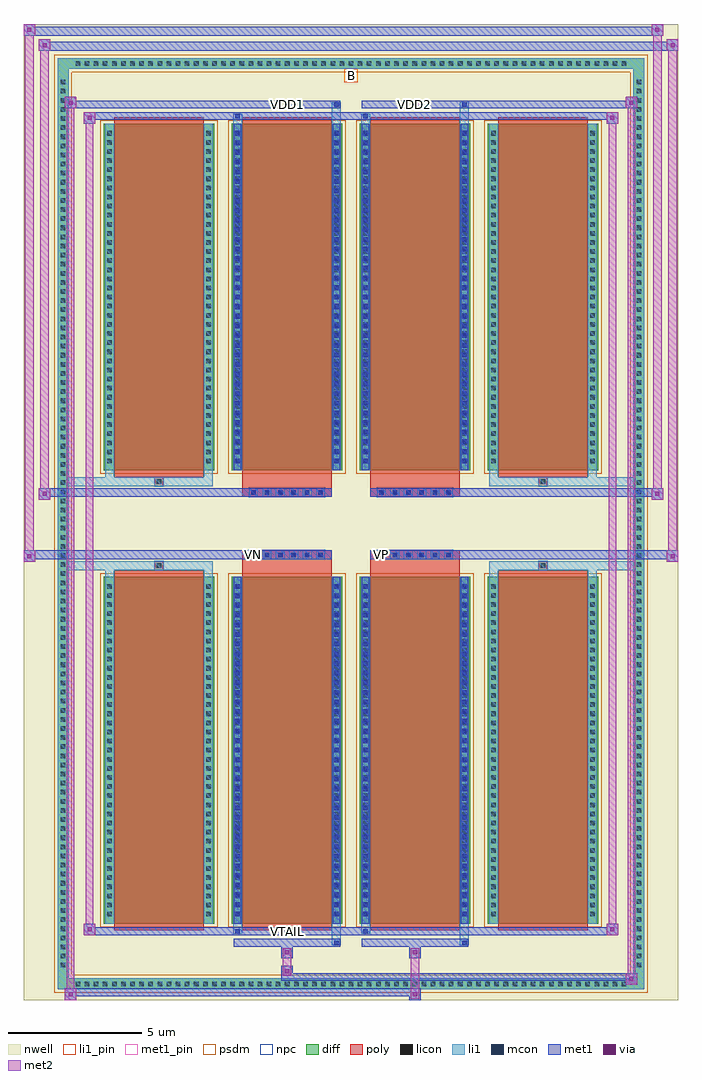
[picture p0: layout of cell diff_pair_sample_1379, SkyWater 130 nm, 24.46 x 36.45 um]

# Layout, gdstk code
import gdstk
lib = gdstk.Library(unit=1e-6, precision=5e-09)
def R(c, l, rs):  # rectangles x0, y0, x1, y1
    for r in rs: c.add(gdstk.rectangle(r[:2], r[2:], *l))
def A(c, l, x, y, w, h, nx, ny, dx, dy):  # array of equal rectangles
    R(c, l, [(x+i*dx, y+j*dy, x+i*dx+w, y+j*dy+h) for i in range(nx) for j in range(ny)])
def P(c, l, *ps):  # polygons
    for p in ps: c.add(gdstk.Polygon(p, *l))
nwell = (64, 20)
diff = (65, 20)
poly = (66, 20)
licon = (66, 44)
li1_pin = (67, 16)
li1 = (67, 20)
mcon = (67, 44)
met1_pin = (68, 16)
met1 = (68, 20)
via = (68, 44)
met2 = (69, 20)
psdm = (94, 20)
npc = (95, 20)

diff_pair_sample_1379 = lib.new_cell('diff_pair_sample_1379')
R(diff_pair_sample_1379, nwell, [(-12.23,-17.79,12.23,18.66), (-9.55,-15.98,-0.01,-0.8), (0.01,-15.98,9.55,-0.8), (-9.55,0.8,-0.01,15.98), (0.01,0.8,9.55,15.98)])
A(diff_pair_sample_1379, diff, -10.405, -17.39, 0.41, 0.41, 61, 2, 0.34, 34.37)
A(diff_pair_sample_1379, diff, -10.96, -16.695, 0.41, 0.41, 1, 98, 0, 0.34)
A(diff_pair_sample_1379, diff, 10.55, -16.695, 0.41, 0.41, 1, 98, 0, 0.34)
A(diff_pair_sample_1379, diff, -9.24, -14.935, 4.14, 12.95, 4, 2, 4.78, 16.92)
R(diff_pair_sample_1379, diff, [(-10.405,-17.39,10.405,-16.98), (-10.96,-16.695,-10.55,16.695), (10.55,-16.695,10.96,16.695), (-10.405,16.98,10.405,17.39)])
P(diff_pair_sample_1379, diff, [(10.96,17.39),(-10.96,17.39),(-10.96,-16.98),(-10.55,-16.98),(-10.55,16.98),(10.55,16.98),(10.55,-16.98),(-10.55,-16.98),(-10.96,-16.98),(-10.96,-17.39),(10.96,-17.39)])
A(diff_pair_sample_1379, poly, -8.85, -15.185, 3.36, 13.45, 4, 2, 4.78, 16.92)
A(diff_pair_sample_1379, poly, -3.805, -1.33, 0.33, 0.33, 6, 2, 0.5, 2.33)
A(diff_pair_sample_1379, poly, 0.975, -1.33, 0.33, 0.33, 6, 2, 0.5, 2.33)
R(diff_pair_sample_1379, poly, [(-7.335,-1.735,-7.005,-1.405), (-7.335,-1.735,-7.005,-1.405), (-4.07,-1.735,-0.71,-1.33), (0.71,-1.735,4.07,-1.33), (7.005,-1.735,7.335,-1.405), (7.005,-1.735,7.335,-1.405), (-4.07,-1.33,-0.71,-1), (0.71,-1.33,4.07,-1), (-4.07,1,-0.71,1.33), (0.71,1,4.07,1.33), (-4.07,1.33,-0.71,1.735), (0.71,1.33,4.07,1.735), (-7.335,1.405,-7.005,1.735), (-7.335,1.405,-7.005,1.735), (7.005,1.405,7.335,1.735), (7.005,1.405,7.335,1.735)])
A(diff_pair_sample_1379, licon, -10.285, -17.27, 0.17, 0.17, 61, 2, 0.34, 34.37)
A(diff_pair_sample_1379, licon, -10.84, -16.575, 0.17, 0.17, 1, 98, 0, 0.34)
A(diff_pair_sample_1379, licon, 10.67, -16.575, 0.17, 0.17, 1, 98, 0, 0.34)
A(diff_pair_sample_1379, licon, -9.1, -14.665, 0.17, 0.17, 1, 37, 0, 0.34)
A(diff_pair_sample_1379, licon, -5.41, -14.665, 0.17, 0.17, 1, 37, 0, 0.34)
A(diff_pair_sample_1379, licon, -4.32, -14.665, 0.17, 0.17, 1, 37, 0, 0.34)
A(diff_pair_sample_1379, licon, -0.63, -14.665, 0.17, 0.17, 1, 37, 0, 0.34)
A(diff_pair_sample_1379, licon, 0.46, -14.665, 0.17, 0.17, 1, 37, 0, 0.34)
A(diff_pair_sample_1379, licon, 4.15, -14.665, 0.17, 0.17, 1, 37, 0, 0.34)
A(diff_pair_sample_1379, licon, 5.24, -14.665, 0.17, 0.17, 1, 37, 0, 0.34)
A(diff_pair_sample_1379, licon, 8.93, -14.665, 0.17, 0.17, 1, 37, 0, 0.34)
A(diff_pair_sample_1379, licon, -3.725, -1.25, 0.17, 0.17, 6, 2, 0.5, 2.33)
A(diff_pair_sample_1379, licon, 1.055, -1.25, 0.17, 0.17, 6, 2, 0.5, 2.33)
A(diff_pair_sample_1379, licon, -9.1, 2.255, 0.17, 0.17, 1, 37, 0, 0.34)
A(diff_pair_sample_1379, licon, -5.41, 2.255, 0.17, 0.17, 1, 37, 0, 0.34)
A(diff_pair_sample_1379, licon, -4.32, 2.255, 0.17, 0.17, 1, 37, 0, 0.34)
A(diff_pair_sample_1379, licon, -0.63, 2.255, 0.17, 0.17, 1, 37, 0, 0.34)
A(diff_pair_sample_1379, licon, 0.46, 2.255, 0.17, 0.17, 1, 37, 0, 0.34)
A(diff_pair_sample_1379, licon, 4.15, 2.255, 0.17, 0.17, 1, 37, 0, 0.34)
A(diff_pair_sample_1379, licon, 5.24, 2.255, 0.17, 0.17, 1, 37, 0, 0.34)
A(diff_pair_sample_1379, licon, 8.93, 2.255, 0.17, 0.17, 1, 37, 0, 0.34)
R(diff_pair_sample_1379, licon, [(-7.255,-1.655,-7.085,-1.485), (7.085,-1.655,7.255,-1.485), (-7.255,1.485,-7.085,1.655), (7.085,1.485,7.255,1.655)])
R(diff_pair_sample_1379, li1_pin, [(-0.25,16.48,0.25,16.98)])
A(diff_pair_sample_1379, li1, -10.365, -17.35, 0.33, 0.33, 61, 2, 0.34, 34.37)
A(diff_pair_sample_1379, li1, -10.92, -16.655, 0.33, 0.33, 1, 98, 0, 0.34)
A(diff_pair_sample_1379, li1, 10.59, -16.655, 0.33, 0.33, 1, 98, 0, 0.34)
A(diff_pair_sample_1379, li1, -9.18, -14.745, 0.33, 0.33, 1, 37, 0, 0.34)
A(diff_pair_sample_1379, li1, -5.49, -14.745, 0.33, 0.33, 1, 37, 0, 0.34)
A(diff_pair_sample_1379, li1, -4.4, -14.745, 0.33, 0.33, 1, 37, 0, 0.34)
A(diff_pair_sample_1379, li1, -0.71, -14.745, 0.33, 0.33, 1, 37, 0, 0.34)
A(diff_pair_sample_1379, li1, 0.38, -14.745, 0.33, 0.33, 1, 37, 0, 0.34)
A(diff_pair_sample_1379, li1, 4.07, -14.745, 0.33, 0.33, 1, 37, 0, 0.34)
A(diff_pair_sample_1379, li1, 5.16, -14.745, 0.33, 0.33, 1, 37, 0, 0.34)
A(diff_pair_sample_1379, li1, 8.85, -14.745, 0.33, 0.33, 1, 37, 0, 0.34)
A(diff_pair_sample_1379, li1, -4.32, -14.665, 0.17, 0.17, 1, 35, 0, 0.36)
A(diff_pair_sample_1379, li1, -0.63, -14.665, 0.17, 0.17, 1, 35, 0, 0.36)
A(diff_pair_sample_1379, li1, 0.46, -14.665, 0.17, 0.17, 1, 35, 0, 0.36)
A(diff_pair_sample_1379, li1, 4.15, -14.665, 0.17, 0.17, 1, 35, 0, 0.36)
A(diff_pair_sample_1379, li1, -3.805, -1.33, 0.33, 0.33, 6, 2, 0.5, 2.33)
A(diff_pair_sample_1379, li1, 0.975, -1.33, 0.33, 0.33, 6, 2, 0.5, 2.33)
A(diff_pair_sample_1379, li1, -9.18, 2.175, 0.33, 0.33, 1, 37, 0, 0.34)
A(diff_pair_sample_1379, li1, -5.49, 2.175, 0.33, 0.33, 1, 37, 0, 0.34)
A(diff_pair_sample_1379, li1, -4.4, 2.175, 0.33, 0.33, 1, 37, 0, 0.34)
A(diff_pair_sample_1379, li1, -0.71, 2.175, 0.33, 0.33, 1, 37, 0, 0.34)
A(diff_pair_sample_1379, li1, 0.38, 2.175, 0.33, 0.33, 1, 37, 0, 0.34)
A(diff_pair_sample_1379, li1, 4.07, 2.175, 0.33, 0.33, 1, 37, 0, 0.34)
A(diff_pair_sample_1379, li1, 5.16, 2.175, 0.33, 0.33, 1, 37, 0, 0.34)
A(diff_pair_sample_1379, li1, 8.85, 2.175, 0.33, 0.33, 1, 37, 0, 0.34)
A(diff_pair_sample_1379, li1, -4.32, 2.255, 0.17, 0.17, 1, 35, 0, 0.36)
A(diff_pair_sample_1379, li1, -0.63, 2.255, 0.17, 0.17, 1, 35, 0, 0.36)
A(diff_pair_sample_1379, li1, 0.46, 2.255, 0.17, 0.17, 1, 35, 0, 0.36)
A(diff_pair_sample_1379, li1, 4.15, 2.255, 0.17, 0.17, 1, 35, 0, 0.36)
R(diff_pair_sample_1379, li1, [(-10.96,-17.39,-10.55,-16.98), (-10.96,-17.39,-10.55,-16.98), (-10.55,-17.39,10.55,-16.98), (10.55,-17.39,10.96,-16.98), (10.55,-17.39,10.96,-16.98), (-10.96,-16.98,-10.55,16.98), (10.55,-16.98,10.96,16.98), (-0.71,-15.74,-0.38,-14.935), (-0.63,-15.74,-0.46,-15.57), (4.07,-15.74,4.4,-14.935), (4.15,-15.74,4.32,-15.57), (-4.4,-15.31,-4.07,-14.935), (-4.32,-15.31,-4.15,-15.14), (0.38,-15.31,0.71,-14.935), (0.46,-15.31,0.63,-15.14), (-9.18,-14.935,-8.85,-1.985), (-5.49,-14.935,-5.16,-1.985), (-4.4,-14.935,-4.07,-1.985), (-0.71,-14.935,-0.38,-1.985), (0.38,-14.935,0.71,-1.985), (4.07,-14.935,4.4,-1.985), (5.16,-14.935,5.49,-1.985), (8.85,-14.935,9.18,-1.985), (-4.32,-14.665,-4.15,-2.255), (-0.63,-14.665,-0.46,-2.255), (0.46,-14.665,0.63,-2.255), (4.15,-14.665,4.32,-2.255), (-9.18,-1.985,-8.85,-1.405), (-5.49,-1.985,-5.16,-1.405), (5.16,-1.985,5.49,-1.405), (8.85,-1.985,9.18,-1.405), (-10.96,-1.735,-7.335,-1.405), (-9.18,-1.735,-7.335,-1.405), (-7.335,-1.735,-7.005,-1.405), (-7.005,-1.735,-5.16,-1.405), (5.16,-1.735,7.005,-1.405), (7.005,-1.735,7.335,-1.405), (7.005,-1.735,10.96,-1.405), (7.335,-1.735,9.18,-1.405), (-10.96,1.405,-7.335,1.735), (-9.18,1.405,-7.335,1.735), (-9.18,1.405,-8.85,1.985), (-7.335,1.405,-7.005,1.735), (-7.005,1.405,-5.16,1.735), (-5.49,1.405,-5.16,1.985), (5.16,1.405,7.005,1.735), (5.16,1.405,5.49,1.985), (7.005,1.405,7.335,1.735), (7.005,1.405,10.96,1.735), (7.335,1.405,9.18,1.735), (8.85,1.405,9.18,1.985), (-9.18,1.985,-8.85,14.935), (-5.49,1.985,-5.16,14.935), (-4.4,1.985,-4.07,14.935), (-0.71,1.985,-0.38,14.935), (0.38,1.985,0.71,14.935), (4.07,1.985,4.4,14.935), (5.16,1.985,5.49,14.935), (8.85,1.985,9.18,14.935), (-4.32,2.255,-4.15,14.665), (-0.63,2.255,-0.46,14.665), (0.46,2.255,0.63,14.665), (4.15,2.255,4.32,14.665), (-4.4,14.935,-4.07,15.31), (-0.71,14.935,-0.38,15.74), (0.38,14.935,0.71,15.31), (4.07,14.935,4.4,15.74), (-4.32,15.14,-4.15,15.31), (0.46,15.14,0.63,15.31), (-0.63,15.57,-0.46,15.74), (4.15,15.57,4.32,15.74), (-10.96,16.98,-10.55,17.39), (-10.96,16.98,-10.55,17.39), (-10.55,16.98,10.55,17.39), (10.55,16.98,10.96,17.39), (10.55,16.98,10.96,17.39)])
A(diff_pair_sample_1379, mcon, -4.32, -14.665, 0.17, 0.17, 1, 35, 0, 0.36)
A(diff_pair_sample_1379, mcon, -0.63, -14.665, 0.17, 0.17, 1, 35, 0, 0.36)
A(diff_pair_sample_1379, mcon, 0.46, -14.665, 0.17, 0.17, 1, 35, 0, 0.36)
A(diff_pair_sample_1379, mcon, 4.15, -14.665, 0.17, 0.17, 1, 35, 0, 0.36)
A(diff_pair_sample_1379, mcon, -3.725, -1.25, 0.17, 0.17, 6, 2, 0.5, 2.33)
A(diff_pair_sample_1379, mcon, 1.055, -1.25, 0.17, 0.17, 6, 2, 0.5, 2.33)
A(diff_pair_sample_1379, mcon, -4.32, 2.255, 0.17, 0.17, 1, 35, 0, 0.36)
A(diff_pair_sample_1379, mcon, -0.63, 2.255, 0.17, 0.17, 1, 35, 0, 0.36)
A(diff_pair_sample_1379, mcon, 0.46, 2.255, 0.17, 0.17, 1, 35, 0, 0.36)
A(diff_pair_sample_1379, mcon, 4.15, 2.255, 0.17, 0.17, 1, 35, 0, 0.36)
R(diff_pair_sample_1379, mcon, [(-0.63,-15.74,-0.46,-15.57), (4.15,-15.74,4.32,-15.57), (-4.32,-15.31,-4.15,-15.14), (0.46,-15.31,0.63,-15.14), (-4.32,15.14,-4.15,15.31), (0.46,15.14,0.63,15.31), (-0.63,15.57,-0.46,15.74), (4.15,15.57,4.32,15.74)])
R(diff_pair_sample_1379, met1_pin, [(-2.525,-15.35,-2.255,-15.08), (-3.775,-1.29,-3.505,-1.02), (1.005,-1.29,1.275,-1.02), (-2.525,15.53,-2.255,15.8), (2.255,15.53,2.525,15.8)])
A(diff_pair_sample_1379, met1, -4.38, -14.725, 0.29, 0.29, 1, 35, 0, 0.36)
A(diff_pair_sample_1379, met1, -0.69, -14.725, 0.29, 0.29, 1, 35, 0, 0.36)
A(diff_pair_sample_1379, met1, 0.4, -14.725, 0.29, 0.29, 1, 35, 0, 0.36)
A(diff_pair_sample_1379, met1, 4.09, -14.725, 0.29, 0.29, 1, 35, 0, 0.36)
A(diff_pair_sample_1379, met1, -3.785, -1.31, 0.29, 0.29, 6, 2, 0.5, 2.33)
A(diff_pair_sample_1379, met1, 0.995, -1.31, 0.29, 0.29, 6, 2, 0.5, 2.33)
A(diff_pair_sample_1379, met1, -4.38, 2.195, 0.29, 0.29, 1, 35, 0, 0.36)
A(diff_pair_sample_1379, met1, -0.69, 2.195, 0.29, 0.29, 1, 35, 0, 0.36)
A(diff_pair_sample_1379, met1, 0.4, 2.195, 0.29, 0.29, 1, 35, 0, 0.36)
A(diff_pair_sample_1379, met1, 4.09, 2.195, 0.29, 0.29, 1, 35, 0, 0.36)
R(diff_pair_sample_1379, met1, [(-10.69,-17.79,-10.26,-17.36), (2.175,-17.79,2.605,-17.36), (-10.69,-17.65,2.605,-17.36), (10.26,-17.22,10.69,-16.79), (-2.605,-17.08,10.69,-16.79), (-2.605,-16.94,-2.175,-16.51), (-2.605,-16.23,-2.175,-15.8), (2.175,-16.23,2.605,-15.8), (-4.38,-15.8,-0.4,-15.51), (-0.69,-15.8,-0.4,-15.51), (0.4,-15.8,4.38,-15.51), (4.09,-15.8,4.38,-15.51), (-9.98,-15.37,-9.55,-14.94), (-9.98,-15.37,-4.38,-15.08), (-4.38,-15.37,-4.09,-15.08), (-4.38,-15.37,-0.4,-15.08), (-0.4,-15.37,0.4,-15.08), (0.4,-15.37,0.69,-15.08), (0.4,-15.37,4.38,-15.08), (4.38,-15.37,9.98,-15.08), (9.55,-15.37,9.98,-14.94), (-4.38,-14.935,-4.09,-1.985), (-0.69,-14.935,-0.4,-1.985), (0.4,-14.935,0.69,-1.985), (4.09,-14.935,4.38,-1.985), (-12.23,-1.43,-11.8,-1), (11.8,-1.43,12.23,-1), (-12.23,-1.33,-0.71,-1), (-4.07,-1.33,-0.71,-1), (0.71,-1.33,4.07,-1), (0.71,-1.33,12.23,-1), (-11.66,0.9,-11.23,1.33), (11.23,0.9,11.66,1.33), (-11.66,1,-4.07,1.33), (-4.07,1,-0.71,1.33), (0.71,1,4.07,1.33), (4.07,1,11.66,1.33), (-4.38,1.985,-4.09,14.935), (-0.69,1.985,-0.4,14.935), (0.4,1.985,0.69,14.935), (4.09,1.985,4.38,14.935), (-9.98,14.94,-9.55,15.37), (9.55,14.94,9.98,15.37), (-9.98,15.08,-4.38,15.37), (-4.38,15.08,-4.09,15.37), (-4.38,15.08,-0.4,15.37), (-0.4,15.08,0.4,15.37), (0.4,15.08,0.69,15.37), (0.4,15.08,4.38,15.37), (4.38,15.08,9.98,15.37), (-10.69,15.51,-10.26,15.94), (-10.69,15.51,-4.38,15.8), (-4.38,15.51,-0.4,15.8), (-0.69,15.51,-0.4,15.8), (0.4,15.51,4.38,15.8), (4.09,15.51,4.38,15.8), (4.38,15.51,10.69,15.8), (10.26,15.51,10.69,15.94), (-11.66,17.66,-11.23,18.09), (-11.66,17.66,-9.55,17.99), (-9.55,17.66,9.55,17.99), (9.55,17.66,12.23,17.99), (11.8,17.66,12.23,18.09), (-12.23,18.23,-11.8,18.66), (-12.23,18.23,-9.55,18.56), (-9.55,18.23,9.55,18.56), (9.55,18.23,11.66,18.56), (11.23,18.23,11.66,18.66)])
R(diff_pair_sample_1379, via, [(-10.55,-17.65,-10.4,-17.5), (2.315,-17.65,2.465,-17.5), (10.4,-17.08,10.55,-16.93), (-2.465,-16.8,-2.315,-16.65), (-2.465,-16.09,-2.315,-15.94), (2.315,-16.09,2.465,-15.94), (-9.84,-15.23,-9.69,-15.08), (9.69,-15.23,9.84,-15.08), (-12.09,-1.29,-11.94,-1.14), (11.94,-1.29,12.09,-1.14), (-11.52,1.04,-11.37,1.19), (11.37,1.04,11.52,1.19), (-9.84,15.08,-9.69,15.23), (9.69,15.08,9.84,15.23), (-10.55,15.65,-10.4,15.8), (10.4,15.65,10.55,15.8), (-11.52,17.8,-11.37,17.95), (11.94,17.8,12.09,17.95), (-12.09,18.37,-11.94,18.52), (11.37,18.37,11.52,18.52)])
R(diff_pair_sample_1379, met2, [(-10.69,-17.79,-10.26,-17.36), (-10.62,-17.79,-10.33,15.94), (-10.33,-17.79,-10.26,-17.36), (-10.64,-17.74,-10.31,-17.41), (2.225,-17.74,2.555,-17.41), (2.225,-17.41,2.555,-16.18), (10.26,-17.22,10.69,-16.79), (10.33,-17.22,10.62,15.94), (10.62,-17.22,10.69,-16.79), (10.31,-17.17,10.64,-16.84), (-2.555,-16.89,-2.225,-16.56), (-2.555,-16.56,-2.225,-16.18), (-2.555,-16.18,-2.225,-15.85), (2.225,-16.18,2.555,-15.85), (-9.98,-15.37,-9.55,-14.94), (-9.91,-15.37,-9.62,15.37), (-9.62,-15.37,-9.55,-14.94), (9.55,-15.37,9.98,-14.94), (9.62,-15.37,9.91,15.37), (9.91,-15.37,9.98,-14.94), (-9.93,-15.32,-9.6,-14.99), (9.6,-15.32,9.93,-14.99), (-12.23,-1.43,-11.8,-1), (-12.18,-1.43,-11.85,18.66), (-11.85,-1.43,-11.8,-1), (11.8,-1.43,12.23,-1), (11.85,-1.43,12.18,18.09), (12.18,-1.43,12.23,-1), (-12.18,-1.38,-11.85,-1.05), (11.85,-1.38,12.18,-1.05), (-11.66,0.9,-11.23,1.33), (-11.61,0.9,-11.28,18.09), (-11.28,0.9,-11.23,1.33), (11.23,0.9,11.66,1.33), (11.28,0.9,11.61,18.66), (11.61,0.9,11.66,1.33), (-11.61,0.95,-11.28,1.28), (11.28,0.95,11.61,1.28), (-9.98,14.94,-9.55,15.37), (-9.62,14.94,-9.55,15.37), (9.55,14.94,9.98,15.37), (9.91,14.94,9.98,15.37), (-9.93,14.99,-9.6,15.32), (9.6,14.99,9.93,15.32), (-10.69,15.51,-10.26,15.94), (-10.33,15.51,-10.26,15.94), (10.26,15.51,10.69,15.94), (10.62,15.51,10.69,15.94), (-10.64,15.56,-10.31,15.89), (10.31,15.56,10.64,15.89), (-11.66,17.66,-11.23,18.09), (-11.28,17.66,-11.23,18.09), (11.8,17.66,12.23,18.09), (12.18,17.66,12.23,18.09), (-11.61,17.71,-11.28,18.04), (11.85,17.71,12.18,18.04), (-12.23,18.23,-11.8,18.66), (-11.85,18.23,-11.8,18.66), (11.23,18.23,11.66,18.66), (11.61,18.23,11.66,18.66), (-12.18,18.28,-11.85,18.61), (11.28,18.28,11.61,18.61)])
A(diff_pair_sample_1379, psdm, -9.37, -15.065, 4.4, 13.21, 4, 2, 4.78, 16.92)
P(diff_pair_sample_1379, psdm, [(11.09,17.52),(-11.09,17.52),(-11.09,-16.85),(-10.42,-16.85),(-10.42,16.85),(10.42,16.85),(10.42,-16.85),(-10.42,-16.85),(-11.09,-16.85),(-11.09,-17.52),(11.09,-17.52)])
A(diff_pair_sample_1379, npc, -3.825, -1.35, 0.37, 0.37, 6, 2, 0.5, 2.33)
A(diff_pair_sample_1379, npc, 0.955, -1.35, 0.37, 0.37, 6, 2, 0.5, 2.33)
R(diff_pair_sample_1379, npc, [(-7.355,-1.755,-6.985,-1.385), (6.985,-1.755,7.355,-1.385), (-3.825,-1.35,-2.955,-0.98), (-3.825,-1.35,-2.955,-0.98), (-3.325,-1.35,-2.455,-0.98), (-3.325,-1.35,-2.455,-0.98), (-2.825,-1.35,-1.955,-0.98), (-2.825,-1.35,-1.955,-0.98), (-2.325,-1.35,-1.455,-0.98), (-2.325,-1.35,-1.455,-0.98), (-1.825,-1.35,-0.955,-0.98), (-1.825,-1.35,-0.955,-0.98), (0.955,-1.35,1.825,-0.98), (0.955,-1.35,1.825,-0.98), (1.455,-1.35,2.325,-0.98), (1.455,-1.35,2.325,-0.98), (1.955,-1.35,2.825,-0.98), (1.955,-1.35,2.825,-0.98), (2.455,-1.35,3.325,-0.98), (2.455,-1.35,3.325,-0.98), (2.955,-1.35,3.825,-0.98), (2.955,-1.35,3.825,-0.98), (-3.825,0.98,-2.955,1.35), (-3.825,0.98,-2.955,1.35), (-3.325,0.98,-2.455,1.35), (-3.325,0.98,-2.455,1.35), (-2.825,0.98,-1.955,1.35), (-2.825,0.98,-1.955,1.35), (-2.325,0.98,-1.455,1.35), (-2.325,0.98,-1.455,1.35), (-1.825,0.98,-0.955,1.35), (-1.825,0.98,-0.955,1.35), (0.955,0.98,1.825,1.35), (0.955,0.98,1.825,1.35), (1.455,0.98,2.325,1.35), (1.455,0.98,2.325,1.35), (1.955,0.98,2.825,1.35), (1.955,0.98,2.825,1.35), (2.455,0.98,3.325,1.35), (2.455,0.98,3.325,1.35), (2.955,0.98,3.825,1.35), (2.955,0.98,3.825,1.35), (-7.355,1.385,-6.985,1.755), (6.985,1.385,7.355,1.755)])
diff_pair_sample_1379.add(gdstk.Label('VTAIL', (-2.39,-15.215), layer=68, texttype=5))
diff_pair_sample_1379.add(gdstk.Label('VN', (-3.64,-1.155), layer=68, texttype=5))
diff_pair_sample_1379.add(gdstk.Label('VP', (1.14,-1.155), layer=68, texttype=5))
diff_pair_sample_1379.add(gdstk.Label('B', (0,16.73), layer=67, texttype=5))
diff_pair_sample_1379.add(gdstk.Label('VDD2', (2.39,15.665), layer=68, texttype=5))
diff_pair_sample_1379.add(gdstk.Label('VDD1', (-2.39,15.665), layer=68, texttype=5))

lib.write_gds('diff_pair_sample_1379.gds')
